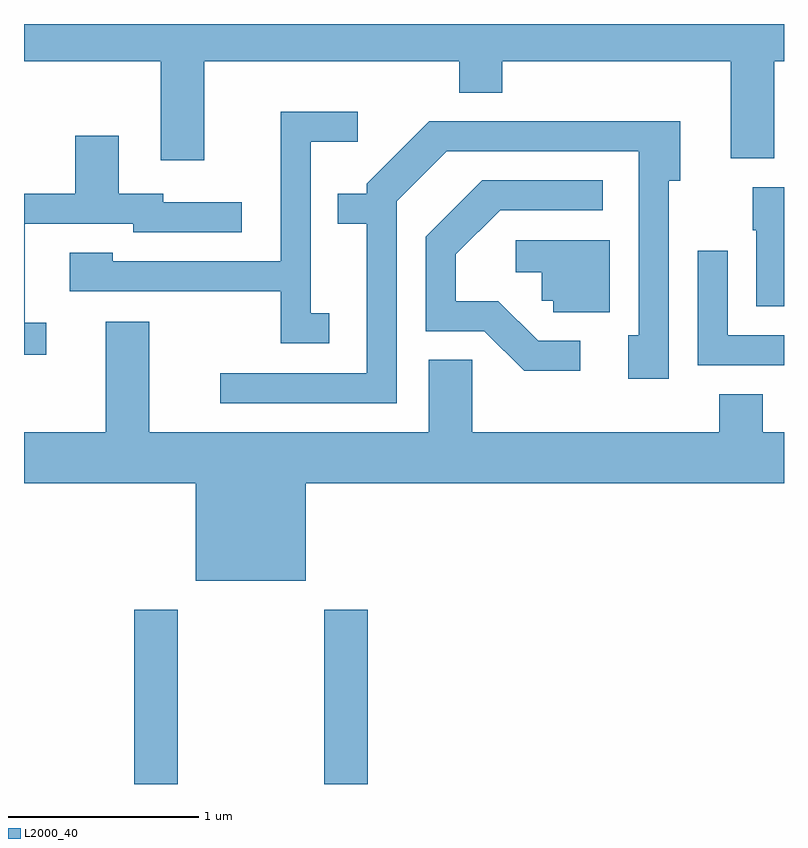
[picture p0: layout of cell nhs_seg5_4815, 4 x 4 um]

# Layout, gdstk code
import gdstk
lib = gdstk.Library(unit=1e-6, precision=1e-09)
def R(c, l, rs):  # rectangles x0, y0, x1, y1
    for r in rs: c.add(gdstk.rectangle(r[:2], r[2:], *l))
def P(c, l, *ps):  # polygons
    for p in ps: c.add(gdstk.Polygon(p, *l))
L2000_40 = (2000, 40)

nhs_seg5_4815 = lib.new_cell('nhs_seg5_4815')
R(nhs_seg5_4815, L2000_40, [(328.191,1484.072,328.419,1484.989), (329.191,1484.072,329.419,1484.989)])
P(nhs_seg5_4815, L2000_40, [(328.559,1487.876),(329.901,1487.876),(329.901,1487.711),(330.129,1487.711),(330.129,1487.876),(331.331,1487.876),(331.331,1487.366),(331.559,1487.366),(331.559,1487.876),(331.611,1487.876),(331.611,1488.072),(327.611,1488.072),(327.611,1487.876),(328.331,1487.876),(328.331,1487.356),(328.559,1487.356)],
  [(329.218,1486.549),(329.119,1486.549),(329.119,1487.451),(329.368,1487.451),(329.368,1487.609),(328.961,1487.609),(328.961,1486.824),(328.079,1486.824),(328.079,1486.869),(327.851,1486.869),(327.851,1486.666),(328.961,1486.666),(328.961,1486.391),(329.218,1486.391)],
  [(329.574,1487.139),(329.837,1487.401),(330.846,1487.401),(330.846,1486.434),(330.791,1486.434),(330.791,1486.206),(331.004,1486.206),(331.004,1487.246),(331.064,1487.246),(331.064,1487.559),(329.744,1487.559),(329.416,1487.232),(329.416,1487.179),(329.263,1487.179),(329.263,1487.021),(329.416,1487.021),(329.416,1486.234),(328.643,1486.234),(328.643,1486.076),(329.574,1486.076)],
  [(327.728,1486.499),(327.614,1486.499),(327.614,1487.021),(328.186,1487.021),(328.186,1486.976),(328.758,1486.976),(328.758,1487.134),(328.344,1487.134),(328.344,1487.179),(328.109,1487.179),(328.109,1487.484),(327.881,1487.484),(327.881,1487.179),(327.611,1487.179),(327.611,1486.331),(327.728,1486.331)],
  [(330.538,1486.404),(330.317,1486.404),(330.107,1486.614),(329.884,1486.614),(329.884,1486.859),(330.117,1487.091),(330.658,1487.091),(330.658,1487.249),(330.024,1487.249),(329.726,1486.952),(329.726,1486.456),(330.034,1486.456),(330.244,1486.246),(330.538,1486.246)],
  [(331.611,1487.214),(331.446,1487.214),(331.446,1486.986),(331.466,1486.986),(331.466,1486.586),(331.611,1486.586)],
  [(330.694,1486.934),(330.198,1486.934),(330.198,1486.766),(330.336,1486.766),(330.336,1486.616),(330.396,1486.616),(330.396,1486.556),(330.694,1486.556)],
  [(331.611,1486.434),(331.314,1486.434),(331.314,1486.878),(331.156,1486.878),(331.156,1486.276),(331.611,1486.276)],
  [(329.094,1485.656),(331.611,1485.656),(331.611,1485.924),(331.499,1485.924),(331.499,1486.124),(331.271,1486.124),(331.271,1485.924),(329.969,1485.924),(329.969,1486.304),(329.741,1486.304),(329.741,1485.924),(328.269,1485.924),(328.269,1486.504),(328.041,1486.504),(328.041,1485.924),(327.611,1485.924),(327.611,1485.656),(328.516,1485.656),(328.516,1485.141),(329.094,1485.141)])

lib.write_gds('nhs_seg5_4815.gds')
